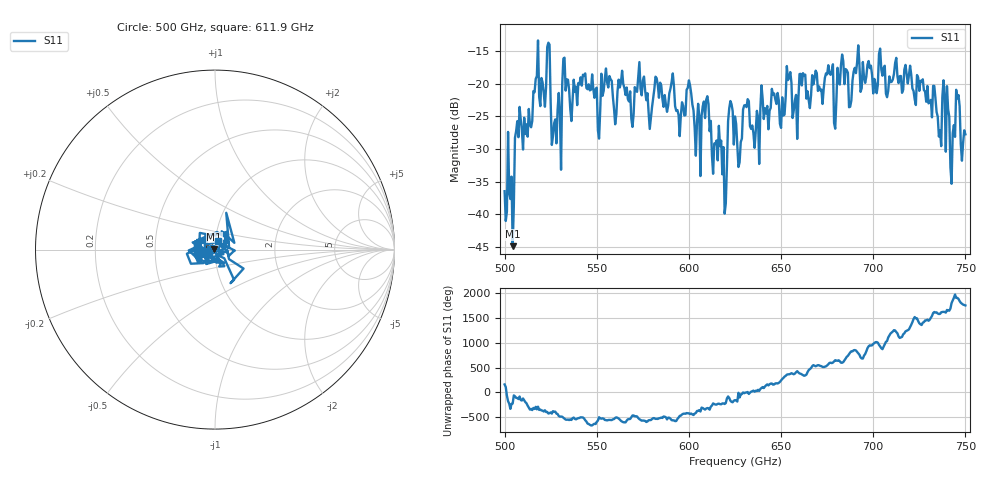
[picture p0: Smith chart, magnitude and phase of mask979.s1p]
!Created with skrf (http://scikit-rf.org).
# GHz S MA R 50.0
!freq magS11 angS11
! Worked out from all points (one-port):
!   401 points, 500 GHz to 750 GHz, reference 50 ohm
!   lowest |S11| = -44.9 dB at 504.4 GHz (marker M1), VSWR 1.01, Z = 49.6 + j0.392 ohm
!   |S11| at or under -10 dB: start of sweep to end of sweep
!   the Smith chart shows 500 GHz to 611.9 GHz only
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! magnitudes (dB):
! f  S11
! 500 GHz  -36.4
! 504.4 GHz  -44.9
! 506.9 GHz  -25.7
! 513.8 GHz  -26.3
! 516.9 GHz  -19.3
! 523.8 GHz  -13.7
! 526.9 GHz  -26.0
! 531.2 GHz  -20.1
! 562.5 GHz  -20.6
! 579.4 GHz  -25.2
! 590.6 GHz  -19.7
! 593.8 GHz  -24.0
! 600 GHz  -19.5
! 605 GHz  -23.1
! 609.4 GHz  -22.5
! 619.4 GHz  -39.9
! 622.5 GHz  -22.6
! 625 GHz  -25.0
! 656.2 GHz  -25.2
! 683.8 GHz  -16.6
! 687.5 GHz  -23.5
! 691.2 GHz  -16.7
! 718.8 GHz  -20.0
! 735.6 GHz  -28.1
! 738.8 GHz  -22.1
! 743.1 GHz  -27.6
! 745.6 GHz  -22.3
! 750 GHz  -27.7
